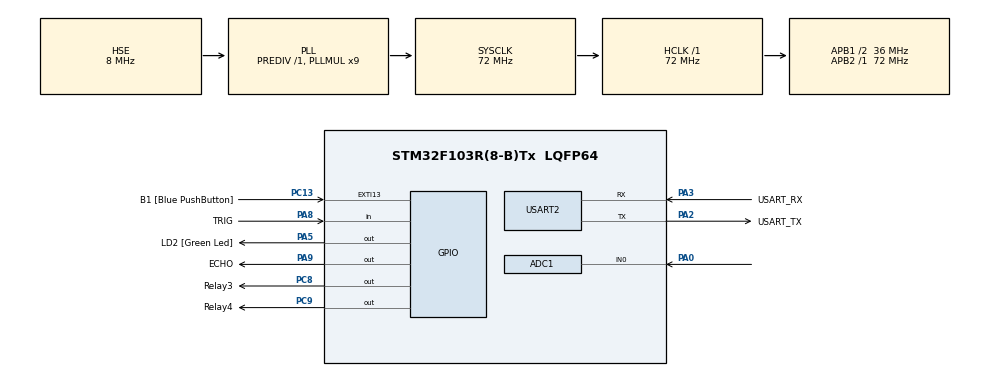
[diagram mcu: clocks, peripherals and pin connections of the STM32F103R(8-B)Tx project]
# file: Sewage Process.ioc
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ADC1.Channel-0\#ChannelRegularConversion=ADC_CHANNEL_0
ADC1.NbrOfConversionFlag=1
ADC1.Rank-0\#ChannelRegularConversion=1
ADC1.SamplingTime-0\#ChannelRegularConversion=ADC_SAMPLETIME_1CYCLE_5
ADC1.master=1
Mcu.Family=STM32F1
Mcu.Name=STM32F103R(8-B)Tx
Mcu.Package=LQFP64
NVIC.EXTI15_10_IRQn=true\:0\:0\:false\:false\:true\:true\:true\:true
NVIC.PriorityGroup=NVIC_PRIORITYGROUP_4
NVIC.TIM2_IRQn=true\:0\:0\:false\:false\:true\:true\:true\:true
NVIC.TIM3_IRQn=true\:0\:0\:false\:false\:true\:true\:true\:true
NVIC.TIM4_IRQn=true\:0\:0\:false\:false\:true\:true\:true\:true
PA0-WKUP.Signal=ADCx_IN0
PA13.GPIO_Label=TMS
PA13.Mode=Serial_Wire
PA13.Signal=SYS_JTMS-SWDIO
PA14.GPIO_Label=TCK
PA14.Mode=Serial_Wire
PA14.Signal=SYS_JTCK-SWCLK
PA2.GPIO_Label=USART_TX
PA2.GPIO_Mode=GPIO_MODE_AF_PP
PA2.GPIO_PuPd=GPIO_NOPULL
PA2.GPIO_Speed=GPIO_SPEED_FREQ_LOW
PA2.Mode=Asynchronous
PA2.Signal=USART2_TX
PA3.GPIO_Label=USART_RX
PA3.GPIO_Mode=GPIO_MODE_AF_PP
PA3.GPIO_PuPd=GPIO_NOPULL
PA3.GPIO_Speed=GPIO_SPEED_FREQ_LOW
PA3.Mode=Asynchronous
PA3.Signal=USART2_RX
PA5.GPIO_Label=LD2 [Green Led]
PA5.GPIO_ModeDefaultOutputPP=GPIO_MODE_OUTPUT_PP
PA5.GPIO_PuPd=GPIO_NOPULL
PA5.GPIO_Speed=GPIO_SPEED_FREQ_LOW
PA5.Signal=GPIO_Output
PA8.GPIO_Label=TRIG
PA8.Signal=GPIO_Input
PA9.GPIO_Label=ECHO
PA9.Signal=GPIO_Output
PB3.GPIO_Label=SWO
PB3.Signal=SYS_JTDO-TRACESWO
PC13-TAMPER-RTC.GPIO_Label=B1 [Blue PushButton]
PC13-TAMPER-RTC.GPIO_PuPd=GPIO_NOPULL
PC13-TAMPER-RTC.Signal=GPXTI13
PC14-OSC32_IN.Signal=RCC_OSC32_IN
PC15-OSC32_OUT.Signal=RCC_OSC32_OUT
PC8.GPIO_Label=Relay3
PC8.Signal=GPIO_Output
PC9.GPIO_Label=Relay4
PC9.Signal=GPIO_Output
PD0-OSC_IN.Mode=HSE-External-Oscillator
PD0-OSC_IN.Signal=RCC_OSC_IN
PD1-OSC_OUT.Mode=HSE-External-Oscillator
PD1-OSC_OUT.Signal=RCC_OSC_OUT
ProjectManager.HeapSize=0x200
ProjectManager.StackSize=0x400
ProjectManager.TargetToolchain=STM32CubeIDE
RCC.ADCPresc=RCC_ADCPCLK2_DIV6
RCC.AHBFreq_Value=72000000
RCC.APB1CLKDivider=RCC_HCLK_DIV2
RCC.APB1Freq_Value=36000000
RCC.APB1TimFreq_Value=72000000
RCC.APB2Freq_Value=72000000
RCC.APB2TimFreq_Value=72000000
RCC.HCLKFreq_Value=72000000
RCC.PLLMUL=RCC_PLL_MUL9
RCC.PLLSourceVirtual=RCC_PLLSOURCE_HSE
RCC.RTCClockSelection=RCC_RTCCLKSOURCE_LSE
RCC.SYSCLKFreq_VALUE=72000000
RCC.SYSCLKSource=RCC_SYSCLKSOURCE_PLLCLK
RCC.USBFreq_Value=72000000
SH.ADCx_IN0.0=ADC1_IN0,IN0
TIM1.Prescaler=72-1
TIM2.Period=100-1
TIM2.Prescaler=72-1
TIM3.Period=100-1
TIM3.Prescaler=72-1
TIM4.Period=100-1
TIM4.Prescaler=72-1
USART2.VirtualMode=VM_ASYNC
VP_TIM1_VS_ClockSourceINT.Mode=Internal
VP_TIM2_VS_ClockSourceINT.Mode=Internal
VP_TIM3_VS_ClockSourceINT.Mode=Internal
VP_TIM4_VS_ClockSourceINT.Mode=Internal
board=NUCLEO-F103RB

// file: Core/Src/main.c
/* USER CODE BEGIN Header */
/**
  ******************************************************************************
  * @file           : main.c
  * @brief          : Main program body
  ******************************************************************************
  * @attention
  *
  * Copyright (c) 2024 STMicroelectronics.
  * All rights reserved.
  *
  * This software is licensed under terms that can be found in the LICENSE file
  * in the root directory of this software component.
  * If no LICENSE file comes with this software, it is provided AS-IS.
  *
  ******************************************************************************
  */
/* USER CODE END Header */
#include "main.h"

ADC_HandleTypeDef hadc1;

TIM_HandleTypeDef htim1;
TIM_HandleTypeDef htim2;
TIM_HandleTypeDef htim3;
TIM_HandleTypeDef htim4;

UART_HandleTypeDef huart2;

/* USER CODE BEGIN PV */
#define TRIG_PIN GPIO_PIN_9
#define TRIG_PORT GPIOA
#define ECHO_PIN GPIO_PIN_8
#define ECHO_PORT GPIOA
uint32_t pMillis;
uint32_t Value1 = 0;
uint32_t Value2 = 0;
uint16_t Distance  = 0;  // cm
uint16_t level=0;
/* USER CODE END PV */

void SystemClock_Config(void);
static void MX_GPIO_Init(void);
static void MX_USART2_UART_Init(void);
static void MX_ADC1_Init(void);
static void MX_TIM2_Init(void);
static void MX_TIM3_Init(void);
static void MX_TIM4_Init(void);
static void MX_TIM1_Init(void);

/* USER CODE BEGIN 0 */
#ifdef __GNUC__
#define PUTCHAR_PROTOTYPE int __io_putchar(int ch)
#else
#define PUTCHAR_PROTOTYPE int fputc(int ch,FILE *f)
#endif

PUTCHAR_PROTOTYPE
{
	if(ch=='\n')
		HAL_UART_Transmit(&huart2, (uint8_t*) "\r",1, 0xFFFF);
	HAL_UART_Transmit(&huart2,(uint8_t*) &ch,1,0xFFFF);

	return ch;
}
/* USER CODE END 0 */

int main(void)
{

  /* MCU Configuration--------------------------------------------------------*/

  /* Reset of all peripherals, Initializes the Flash interface and the Systick. */
  HAL_Init();

  /* Configure the system clock */
  SystemClock_Config();

  /* Initialize all configured peripherals */
  MX_GPIO_Init();
  MX_USART2_UART_Init();
  MX_ADC1_Init();
  MX_TIM2_Init();
  MX_TIM3_Init();
  MX_TIM4_Init();
  MX_TIM1_Init();
  /* USER CODE BEGIN 2 */
  HAL_TIM_Base_Start_IT(&htim1); //ultrasonic sensor timer setting

  HAL_GPIO_WritePin(TRIG_PORT, TRIG_PIN, GPIO_PIN_RESET);
  /* USER CODE END 2 */

  /* Infinite loop */
  /* USER CODE BEGIN WHILE */
  while (1)
  {
	  HAL_ADC_Start(&hadc1);
	  HAL_ADC_PollForConversion(&hadc1, 20);
	  level=HAL_ADC_GetValue(&hadc1);
	  HAL_GPIO_WritePin(TRIG_PORT, TRIG_PIN, GPIO_PIN_SET);  // pull the TRIG pin HIGH
	  __HAL_TIM_SET_COUNTER(&htim1, 0);
	  while (__HAL_TIM_GET_COUNTER (&htim1) < 10);  // wait for 10 us
	  HAL_GPIO_WritePin(TRIG_PORT, TRIG_PIN, GPIO_PIN_RESET);  // pull the TRIG pin low

	  pMillis = HAL_GetTick(); // used this to avoid infinite while loop  (for timeout)
	  // wait for the echo pin to go high
	  while (!(HAL_GPIO_ReadPin (ECHO_PORT, ECHO_PIN)) && pMillis + 10 >  HAL_GetTick());
	  Value1 = __HAL_TIM_GET_COUNTER (&htim1);

	  pMillis = HAL_GetTick(); // used this to avoid infinite while loop (for timeout)
	  // wait for the echo pin to go low
	  while ((HAL_GPIO_ReadPin (ECHO_PORT, ECHO_PIN)) && pMillis + 50 > HAL_GetTick());
	  Value2 = __HAL_TIM_GET_COUNTER (&htim1);

	  Distance = (Value2-Value1)* 0.034/2;
	  HAL_Delay(50);
	  printf("Distance %d\n", Distance);
//	  printf("level %d\n",level);
	  HAL_Delay(1000);

	  if(Distance<=10)
	  {
		  HAL_TIM_Base_Start_IT(&htim2);
	  }
	  else
	  {
		  HAL_TIM_Base_Stop_IT(&htim2);
		  HAL_TIM_Base_Init(&htim2);
	  }
    /* USER CODE END WHILE */

  }
}

void SystemClock_Config(void)
{
  RCC_OscInitTypeDef RCC_OscInitStruct = {0};
  RCC_ClkInitTypeDef RCC_ClkInitStruct = {0};
  RCC_PeriphCLKInitTypeDef PeriphClkInit = {0};

  /** Initializes the RCC Oscillators according to the specified parameters
  * in the RCC_OscInitTypeDef structure.
  */
  RCC_OscInitStruct.OscillatorType = RCC_OSCILLATORTYPE_HSE;
  RCC_OscInitStruct.HSEState = RCC_HSE_ON;
  RCC_OscInitStruct.HSEPredivValue = RCC_HSE_PREDIV_DIV1;
  RCC_OscInitStruct.HSIState = RCC_HSI_ON;
  RCC_OscInitStruct.PLL.PLLState = RCC_PLL_ON;
  RCC_OscInitStruct.PLL.PLLSource = RCC_PLLSOURCE_HSE;
  RCC_OscInitStruct.PLL.PLLMUL = RCC_PLL_MUL9;
  if (HAL_RCC_OscConfig(&RCC_OscInitStruct) != HAL_OK)
  {
    Error_Handler();
  }

  /** Initializes the CPU, AHB and APB buses clocks
  */
  RCC_ClkInitStruct.ClockType = RCC_CLOCKTYPE_HCLK|RCC_CLOCKTYPE_SYSCLK
                              |RCC_CLOCKTYPE_PCLK1|RCC_CLOCKTYPE_PCLK2;
  RCC_ClkInitStruct.SYSCLKSource = RCC_SYSCLKSOURCE_PLLCLK;
  RCC_ClkInitStruct.AHBCLKDivider = RCC_SYSCLK_DIV1;
  RCC_ClkInitStruct.APB1CLKDivider = RCC_HCLK_DIV2;
  RCC_ClkInitStruct.APB2CLKDivider = RCC_HCLK_DIV1;

  if (HAL_RCC_ClockConfig(&RCC_ClkInitStruct, FLASH_LATENCY_2) != HAL_OK)
  {
    Error_Handler();
  }
  PeriphClkInit.PeriphClockSelection = RCC_PERIPHCLK_ADC;
  PeriphClkInit.AdcClockSelection = RCC_ADCPCLK2_DIV6;
  if (HAL_RCCEx_PeriphCLKConfig(&PeriphClkInit) != HAL_OK)
  {
    Error_Handler();
  }
}

static void MX_ADC1_Init(void)
{

  ADC_ChannelConfTypeDef sConfig = {0};

  /** Common config
  */
  hadc1.Instance = ADC1;
  hadc1.Init.ScanConvMode = ADC_SCAN_DISABLE;
  hadc1.Init.ContinuousConvMode = DISABLE;
  hadc1.Init.DiscontinuousConvMode = DISABLE;
  hadc1.Init.ExternalTrigConv = ADC_SOFTWARE_START;
  hadc1.Init.DataAlign = ADC_DATAALIGN_RIGHT;
  hadc1.Init.NbrOfConversion = 1;
  if (HAL_ADC_Init(&hadc1) != HAL_OK)
  {
    Error_Handler();
  }

  /** Configure Regular Channel
  */
  sConfig.Channel = ADC_CHANNEL_0;
  sConfig.Rank = ADC_REGULAR_RANK_1;
  sConfig.SamplingTime = ADC_SAMPLETIME_1CYCLE_5;
  if (HAL_ADC_ConfigChannel(&hadc1, &sConfig) != HAL_OK)
  {
    Error_Handler();
  }

}

static void MX_TIM1_Init(void)
{

  TIM_ClockConfigTypeDef sClockSourceConfig = {0};
  TIM_MasterConfigTypeDef sMasterConfig = {0};

  htim1.Instance = TIM1;
  htim1.Init.Prescaler = 72-1;
  htim1.Init.CounterMode = TIM_COUNTERMODE_UP;
  htim1.Init.Period = 65535;
  htim1.Init.ClockDivision = TIM_CLOCKDIVISION_DIV1;
  htim1.Init.RepetitionCounter = 0;
  htim1.Init.AutoReloadPreload = TIM_AUTORELOAD_PRELOAD_DISABLE;
  if (HAL_TIM_Base_Init(&htim1) != HAL_OK)
  {
    Error_Handler();
  }
  sClockSourceConfig.ClockSource = TIM_CLOCKSOURCE_INTERNAL;
  if (HAL_TIM_ConfigClockSource(&htim1, &sClockSourceConfig) != HAL_OK)
  {
    Error_Handler();
  }
  sMasterConfig.MasterOutputTrigger = TIM_TRGO_RESET;
  sMasterConfig.MasterSlaveMode = TIM_MASTERSLAVEMODE_DISABLE;
  if (HAL_TIMEx_MasterConfigSynchronization(&htim1, &sMasterConfig) != HAL_OK)
  {
    Error_Handler();
  }

}

static void MX_TIM2_Init(void)
{

  TIM_ClockConfigTypeDef sClockSourceConfig = {0};
  TIM_MasterConfigTypeDef sMasterConfig = {0};

  htim2.Instance = TIM2;
  htim2.Init.Prescaler = 72-1;
  htim2.Init.CounterMode = TIM_COUNTERMODE_UP;
  htim2.Init.Period = 100-1;
  htim2.Init.ClockDivision = TIM_CLOCKDIVISION_DIV1;
  htim2.Init.AutoReloadPreload = TIM_AUTORELOAD_PRELOAD_DISABLE;
  if (HAL_TIM_Base_Init(&htim2) != HAL_OK)
  {
    Error_Handler();
  }
  sClockSourceConfig.ClockSource = TIM_CLOCKSOURCE_INTERNAL;
  if (HAL_TIM_ConfigClockSource(&htim2, &sClockSourceConfig) != HAL_OK)
  {
    Error_Handler();
  }
  sMasterConfig.MasterOutputTrigger = TIM_TRGO_RESET;
  sMasterConfig.MasterSlaveMode = TIM_MASTERSLAVEMODE_DISABLE;
  if (HAL_TIMEx_MasterConfigSynchronization(&htim2, &sMasterConfig) != HAL_OK)
  {
    Error_Handler();
  }

}

static void MX_TIM3_Init(void)
{

  TIM_ClockConfigTypeDef sClockSourceConfig = {0};
  TIM_MasterConfigTypeDef sMasterConfig = {0};

  htim3.Instance = TIM3;
  htim3.Init.Prescaler = 72-1;
  htim3.Init.CounterMode = TIM_COUNTERMODE_UP;
  htim3.Init.Period = 100-1;
  htim3.Init.ClockDivision = TIM_CLOCKDIVISION_DIV1;
  htim3.Init.AutoReloadPreload = TIM_AUTORELOAD_PRELOAD_DISABLE;
  if (HAL_TIM_Base_Init(&htim3) != HAL_OK)
  {
    Error_Handler();
  }
  sClockSourceConfig.ClockSource = TIM_CLOCKSOURCE_INTERNAL;
  if (HAL_TIM_ConfigClockSource(&htim3, &sClockSourceConfig) != HAL_OK)
  {
    Error_Handler();
  }
  sMasterConfig.MasterOutputTrigger = TIM_TRGO_RESET;
  sMasterConfig.MasterSlaveMode = TIM_MASTERSLAVEMODE_DISABLE;
  if (HAL_TIMEx_MasterConfigSynchronization(&htim3, &sMasterConfig) != HAL_OK)
  {
    Error_Handler();
  }

}

static void MX_TIM4_Init(void)
{

  TIM_ClockConfigTypeDef sClockSourceConfig = {0};
  TIM_MasterConfigTypeDef sMasterConfig = {0};

  htim4.Instance = TIM4;
  htim4.Init.Prescaler = 72-1;
  htim4.Init.CounterMode = TIM_COUNTERMODE_UP;
  htim4.Init.Period = 100-1;
  htim4.Init.ClockDivision = TIM_CLOCKDIVISION_DIV1;
  htim4.Init.AutoReloadPreload = TIM_AUTORELOAD_PRELOAD_DISABLE;
  if (HAL_TIM_Base_Init(&htim4) != HAL_OK)
  {
    Error_Handler();
  }
  sClockSourceConfig.ClockSource = TIM_CLOCKSOURCE_INTERNAL;
  if (HAL_TIM_ConfigClockSource(&htim4, &sClockSourceConfig) != HAL_OK)
  {
    Error_Handler();
  }
  sMasterConfig.MasterOutputTrigger = TIM_TRGO_RESET;
  sMasterConfig.MasterSlaveMode = TIM_MASTERSLAVEMODE_DISABLE;
  if (HAL_TIMEx_MasterConfigSynchronization(&htim4, &sMasterConfig) != HAL_OK)
  {
    Error_Handler();
  }

}

static void MX_USART2_UART_Init(void)
{

  huart2.Instance = USART2;
  huart2.Init.BaudRate = 115200;
  huart2.Init.WordLength = UART_WORDLENGTH_8B;
  huart2.Init.StopBits = UART_STOPBITS_1;
  huart2.Init.Parity = UART_PARITY_NONE;
  huart2.Init.Mode = UART_MODE_TX_RX;
  huart2.Init.HwFlowCtl = UART_HWCONTROL_NONE;
  huart2.Init.OverSampling = UART_OVERSAMPLING_16;
  if (HAL_UART_Init(&huart2) != HAL_OK)
  {
    Error_Handler();
  }

}

static void MX_GPIO_Init(void)
{
  GPIO_InitTypeDef GPIO_InitStruct = {0};

  /* GPIO Ports Clock Enable */
  __HAL_RCC_GPIOC_CLK_ENABLE();
  __HAL_RCC_GPIOD_CLK_ENABLE();
  __HAL_RCC_GPIOA_CLK_ENABLE();
  __HAL_RCC_GPIOB_CLK_ENABLE();

  /*Configure GPIO pin Output Level */
  HAL_GPIO_WritePin(GPIOA, LD2_Pin|ECHO_Pin, GPIO_PIN_RESET);

  /*Configure GPIO pin Output Level */
  HAL_GPIO_WritePin(GPIOC, Relay3_Pin|Relay4_Pin, GPIO_PIN_RESET);

  /*Configure GPIO pin : B1_Pin */
  GPIO_InitStruct.Pin = B1_Pin;
  GPIO_InitStruct.Mode = GPIO_MODE_IT_RISING;
  GPIO_InitStruct.Pull = GPIO_NOPULL;
  HAL_GPIO_Init(B1_GPIO_Port, &GPIO_InitStruct);

  /*Configure GPIO pins : LD2_Pin ECHO_Pin */
  GPIO_InitStruct.Pin = LD2_Pin|ECHO_Pin;
  GPIO_InitStruct.Mode = GPIO_MODE_OUTPUT_PP;
  GPIO_InitStruct.Pull = GPIO_NOPULL;
  GPIO_InitStruct.Speed = GPIO_SPEED_FREQ_LOW;
  HAL_GPIO_Init(GPIOA, &GPIO_InitStruct);

  /*Configure GPIO pins : Relay3_Pin Relay4_Pin */
  GPIO_InitStruct.Pin = Relay3_Pin|Relay4_Pin;
  GPIO_InitStruct.Mode = GPIO_MODE_OUTPUT_PP;
  GPIO_InitStruct.Pull = GPIO_NOPULL;
  GPIO_InitStruct.Speed = GPIO_SPEED_FREQ_LOW;
  HAL_GPIO_Init(GPIOC, &GPIO_InitStruct);

  /*Configure GPIO pin : TRIG_Pin */
  GPIO_InitStruct.Pin = TRIG_Pin;
  GPIO_InitStruct.Mode = GPIO_MODE_INPUT;
  GPIO_InitStruct.Pull = GPIO_NOPULL;
  HAL_GPIO_Init(TRIG_GPIO_Port, &GPIO_InitStruct);

  /* EXTI interrupt init*/
  HAL_NVIC_SetPriority(EXTI15_10_IRQn, 0, 0);
  HAL_NVIC_EnableIRQ(EXTI15_10_IRQn);

}

/* USER CODE BEGIN 4 */
static uint32_t timer_count=0;

void HAL_TIM_PeriodElapsedCallback(TIM_HandleTypeDef *htim)
{

	if(htim->Instance==TIM2)
	{
		timer_count+=1;
		if(timer_count >= 50000)  //5 second
		{
			HAL_GPIO_TogglePin(GPIOA, LD2_Pin);
			//turn on the ultrasonic cleaning module &&
			HAL_TIM_Base_Start_IT(&htim4); //ultrasonic cleaning module timer setting
			timer_count=0;
		}

	}

	if(htim->Instance==TIM3)
	{
		timer_count+=1;
		if(timer_count>=1800000) //3 minute
		{
			HAL_UART_Transmit(&huart2, (char*)"Detected!\n\r", 32, 20);
			timer_count=0;
		}
	}

	if(htim->Instance==TIM4)
	{
		timer_count+=1;
		if(timer_count>=6000000)  //10 minute
		{

			HAL_UART_Transmit(&huart2, (char*)"Detected!\n\r", 32, 20);
			//turn off the ultrasonic cleaning module
			timer_count=0;
		}
	}
}

/* USER CODE END 4 */

void Error_Handler(void)
{
  __disable_irq();
  while (1)
  {
  }
}
